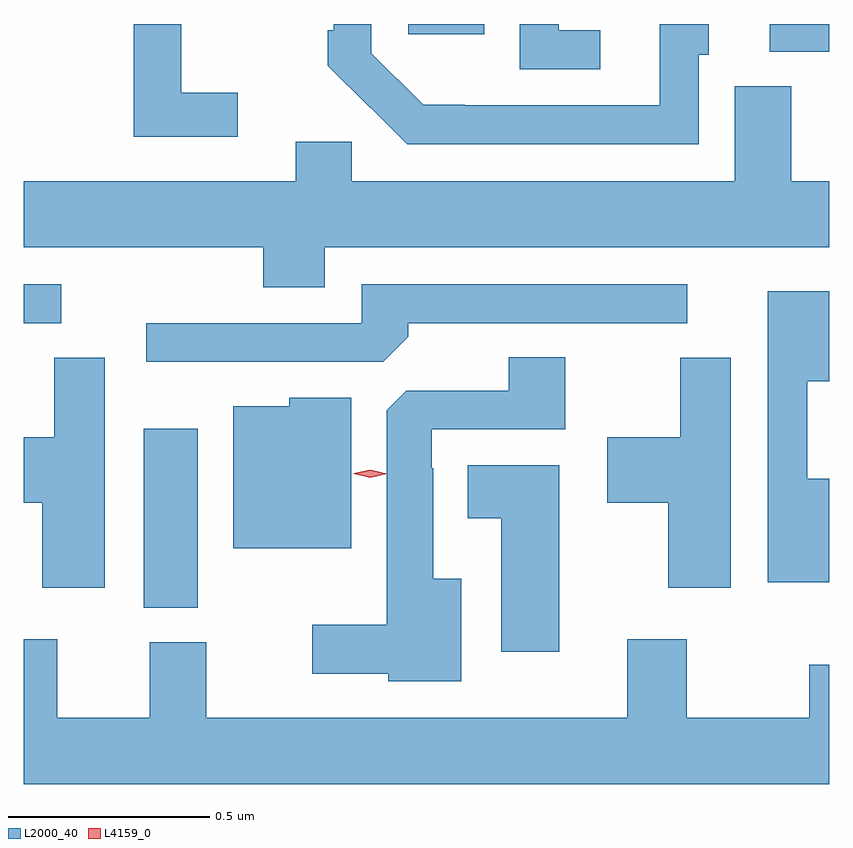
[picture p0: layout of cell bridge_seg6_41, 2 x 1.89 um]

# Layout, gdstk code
import gdstk
lib = gdstk.Library(unit=1e-6, precision=1e-09)
def R(c, l, rs):  # rectangles x0, y0, x1, y1
    for r in rs: c.add(gdstk.rectangle(r[:2], r[2:], *l))
def P(c, l, *ps):  # polygons
    for p in ps: c.add(gdstk.Polygon(p, *l))
L2000_40 = (2000, 40)
L4159_0 = (4159, 0)

bridge_seg6_41 = lib.new_cell('bridge_seg6_41')
R(bridge_seg6_41, L2000_40, [(1068.014,989.065,1068.148,989.509), (1067.716,989.772,1067.809,989.868), (1069.568,990.445,1069.716,990.514), (1068.671,990.489,1068.859,990.514)])
P(bridge_seg6_41, L2000_40, [(1069.147,990.498),(1069.044,990.498),(1069.044,990.514),(1068.948,990.514),(1068.948,990.402),(1069.147,990.402)],
  [(1069.392,990.438),(1069.417,990.438),(1069.417,990.514),(1069.295,990.514),(1069.295,990.312),(1068.811,990.312),(1068.811,990.313),(1068.708,990.313),(1068.579,990.441),(1068.579,990.514),(1068.486,990.514),(1068.486,990.499),(1068.471,990.499),(1068.471,990.411),(1068.576,990.306),(1068.577,990.307),(1068.668,990.216),(1069.392,990.216)],
  [(1068.247,990.343),(1068.107,990.343),(1068.107,990.514),(1067.989,990.514),(1067.989,990.234),(1068.247,990.234)],
  [(1068.463,989.96),(1069.716,989.96),(1069.716,990.124),(1069.621,990.124),(1069.621,990.36),(1069.481,990.36),(1069.481,990.124),(1068.531,990.124),(1068.531,990.222),(1068.392,990.222),(1068.392,990.124),(1067.716,990.124),(1067.716,989.96),(1068.311,989.96),(1068.311,989.861),(1068.463,989.861)],
  [(1068.671,989.738),(1068.671,989.772),(1069.363,989.772),(1069.363,989.868),(1068.555,989.868),(1068.555,989.772),(1068.021,989.772),(1068.021,989.676),(1068.609,989.676)],
  [(1069.716,989.386),(1069.661,989.386),(1069.661,989.627),(1069.716,989.627),(1069.716,989.851),(1069.563,989.851),(1069.563,989.129),(1069.716,989.129)],
  [(1068.802,989.137),(1068.733,989.137),(1068.733,989.411),(1068.729,989.411),(1068.729,989.508),(1069.06,989.508),(1069.06,989.687),(1068.92,989.687),(1068.92,989.604),(1068.666,989.604),(1068.617,989.555),(1068.617,989.023),(1068.432,989.023),(1068.432,988.901),(1068.621,988.901),(1068.621,988.883),(1068.802,988.883)],
  [(1067.917,989.686),(1067.792,989.686),(1067.792,989.488),(1067.716,989.488),(1067.716,989.326),(1067.762,989.326),(1067.762,989.115),(1067.917,989.115)],
  [(1069.471,989.686),(1069.346,989.686),(1069.346,989.488),(1069.164,989.488),(1069.164,989.326),(1069.316,989.326),(1069.316,989.115),(1069.471,989.115)],
  [(1068.529,989.587),(1068.375,989.587),(1068.375,989.566),(1068.236,989.566),(1068.236,989.213),(1068.529,989.213)],
  [(1069.045,989.419),(1068.818,989.419),(1068.818,989.288),(1068.902,989.288),(1068.902,988.956),(1069.045,988.956)],
  [(1069.716,988.924),(1069.666,988.924),(1069.666,988.792),(1069.362,988.792),(1069.362,988.987),(1069.214,988.987),(1069.214,988.792),(1068.169,988.792),(1068.169,988.98),(1068.029,988.98),(1068.029,988.792),(1067.8,988.792),(1067.8,988.987),(1067.716,988.987),(1067.716,988.628),(1069.716,988.628)])
P(bridge_seg6_41, L4159_0, [(1068.577,989.388),(1068.536,989.398),(1068.536,989.399),(1068.536,989.399),(1068.577,989.408),(1068.618,989.398),(1068.618,989.398),(1068.618,989.398)])

lib.write_gds('bridge_seg6_41.gds')
